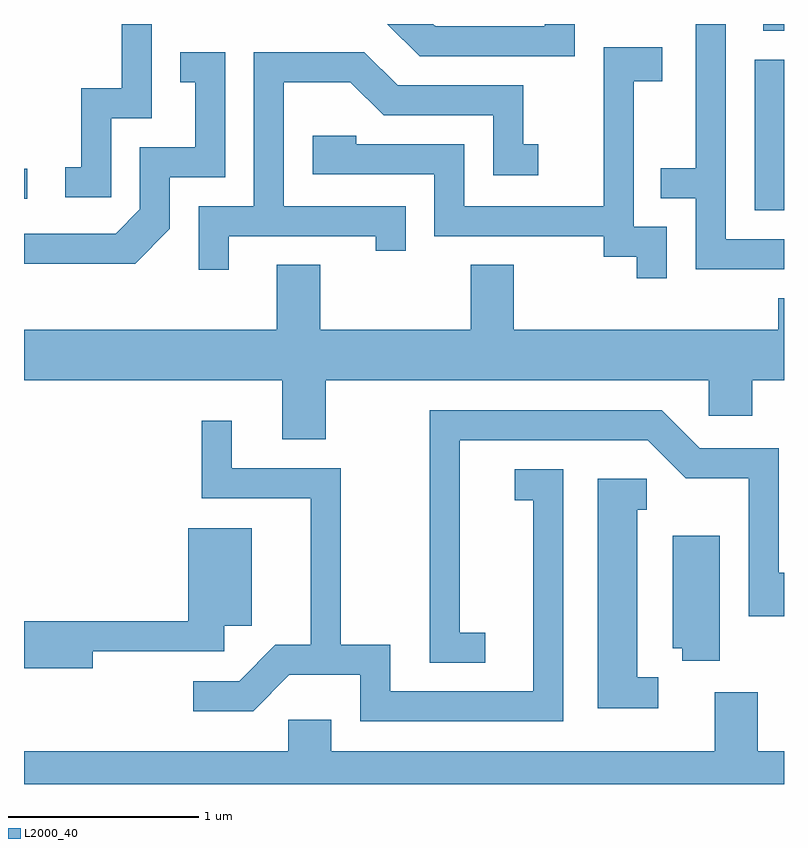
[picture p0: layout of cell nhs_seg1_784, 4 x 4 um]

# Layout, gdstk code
import gdstk
lib = gdstk.Library(unit=1e-6, precision=1e-09)
def R(c, l, rs):  # rectangles x0, y0, x1, y1
    for r in rs: c.add(gdstk.rectangle(r[:2], r[2:], *l))
def P(c, l, *ps):  # polygons
    for p in ps: c.add(gdstk.Polygon(p, *l))
L2000_40 = (2000, 40)

nhs_seg1_784 = lib.new_cell('nhs_seg1_784')
R(nhs_seg1_784, L2000_40, [(213.456,862.731,213.611,863.524), (209.611,862.791,209.628,862.949), (213.501,863.676,213.611,863.712)])
P(nhs_seg1_784, L2000_40, [(213.611,862.579),(213.304,862.579),(213.304,863.712),(213.146,863.712),(213.146,862.954),(212.963,862.954),(212.963,862.796),(213.146,862.796),(213.146,862.421),(213.611,862.421)],
  [(212.509,863.712),(212.351,863.712),(212.351,863.699),(211.777,863.699),(211.764,863.712),(211.523,863.712),(211.694,863.541),(212.509,863.541)],
  [(210.069,863.216),(210.284,863.216),(210.284,863.712),(210.126,863.712),(210.126,863.374),(209.911,863.374),(209.911,862.959),(209.828,862.959),(209.828,862.801),(210.069,862.801)],
  [(212.994,862.644),(212.819,862.644),(212.819,863.411),(212.969,863.411),(212.969,863.589),(212.661,863.589),(212.661,862.754),(211.929,862.754),(211.929,863.079),(211.359,863.079),(211.359,863.124),(211.131,863.124),(211.131,862.921),(211.771,862.921),(211.771,862.596),(212.661,862.596),(212.661,862.486),(212.836,862.486),(212.836,862.373),(212.994,862.373)],
  [(210.379,862.634),(210.379,862.906),(210.669,862.906),(210.669,863.564),(210.433,863.564),(210.433,863.406),(210.511,863.406),(210.511,863.064),(210.221,863.064),(210.221,862.737),(210.094,862.609),(209.611,862.609),(209.611,862.451),(210.197,862.451)],
  [(210.689,862.596),(211.461,862.596),(211.461,862.518),(211.619,862.518),(211.619,862.754),(210.979,862.754),(210.979,863.406),(211.329,863.406),(211.504,863.231),(212.081,863.231),(212.081,862.916),(212.318,862.916),(212.318,863.079),(212.239,863.079),(212.239,863.389),(211.577,863.389),(211.402,863.564),(210.821,863.564),(210.821,862.754),(210.531,862.754),(210.531,862.418),(210.689,862.418)],
  [(211.199,861.836),(213.216,861.836),(213.216,861.651),(213.444,861.651),(213.444,861.836),(213.611,861.836),(213.611,862.269),(213.581,862.269),(213.581,862.104),(212.189,862.104),(212.189,862.444),(211.961,862.444),(211.961,862.104),(211.169,862.104),(211.169,862.444),(210.941,862.444),(210.941,862.104),(209.611,862.104),(209.611,861.836),(210.971,861.836),(210.971,861.526),(211.199,861.526)],
  [(212.038,860.509),(211.904,860.509),(211.904,861.521),(212.894,861.521),(213.094,861.321),(213.426,861.321),(213.426,860.596),(213.611,860.596),(213.611,860.824),(213.584,860.824),(213.584,861.479),(213.167,861.479),(212.967,861.679),(211.746,861.679),(211.746,860.351),(212.038,860.351)],
  [(212.449,861.369),(212.193,861.369),(212.193,861.206),(212.291,861.206),(212.291,860.199),(211.539,860.199),(211.539,860.444),(211.279,860.444),(211.279,861.374),(210.704,861.374),(210.704,861.623),(210.546,861.623),(210.546,861.216),(211.121,861.216),(211.121,860.444),(210.934,860.444),(210.744,860.254),(210.503,860.254),(210.503,860.096),(210.817,860.096),(211.007,860.286),(211.381,860.286),(211.381,860.041),(212.449,860.041)],
  [(212.948,860.274),(212.839,860.274),(212.839,861.156),(212.888,861.156),(212.888,861.319),(212.631,861.319),(212.631,860.111),(212.948,860.111)],
  [(209.974,860.411),(210.664,860.411),(210.664,860.546),(210.809,860.546),(210.809,861.059),(210.476,861.059),(210.476,860.569),(209.611,860.569),(209.611,860.321),(209.974,860.321)],
  [(213.274,861.019),(213.026,861.019),(213.026,860.426),(213.076,860.426),(213.076,860.361),(213.274,860.361)],
  [(213.611,859.884),(213.474,859.884),(213.474,860.194),(213.246,860.194),(213.246,859.884),(211.229,859.884),(211.229,860.049),(211.001,860.049),(211.001,859.884),(209.611,859.884),(209.611,859.712),(213.611,859.712)])

lib.write_gds('nhs_seg1_784.gds')
